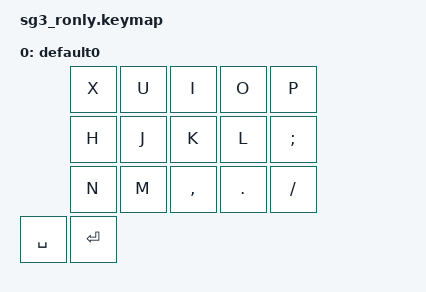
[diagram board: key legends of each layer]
#include <behaviors.dtsi>
#include <dt-bindings/zmk/keys.h>

/ {
    keymap {
        compatible = "zmk,keymap";

        default0 { bindings = <
//               ╭── 40      ──┬── 41    ──┬── 42    ──┬── 43   ──┬── 44       ──╮
                 &kp X         &kp U       &kp I       &kp O      &kp P
//               ├── 45      ──┼── 46    ──┼── 47    ──┼── 48   ──┼── 49       ──┤
                 &kp H         &kp J       &kp K       &kp L      &kp SEMI
//               ├── 50      ──┼── 51    ──┼── 52    ──┼── 53   ──┼── 54       ──┤
                 &kp N         &kp M       &kp COMMA   &kp DOT    &kp FSLH
//   ╭── 55    ──┼── 56      ──┼──       ──┴──       ──┴──      ──┴──          ──╯
     &kp SPACE   &kp RET       >; };
//   ╰──       ──┴──         ──╯

    };
};
